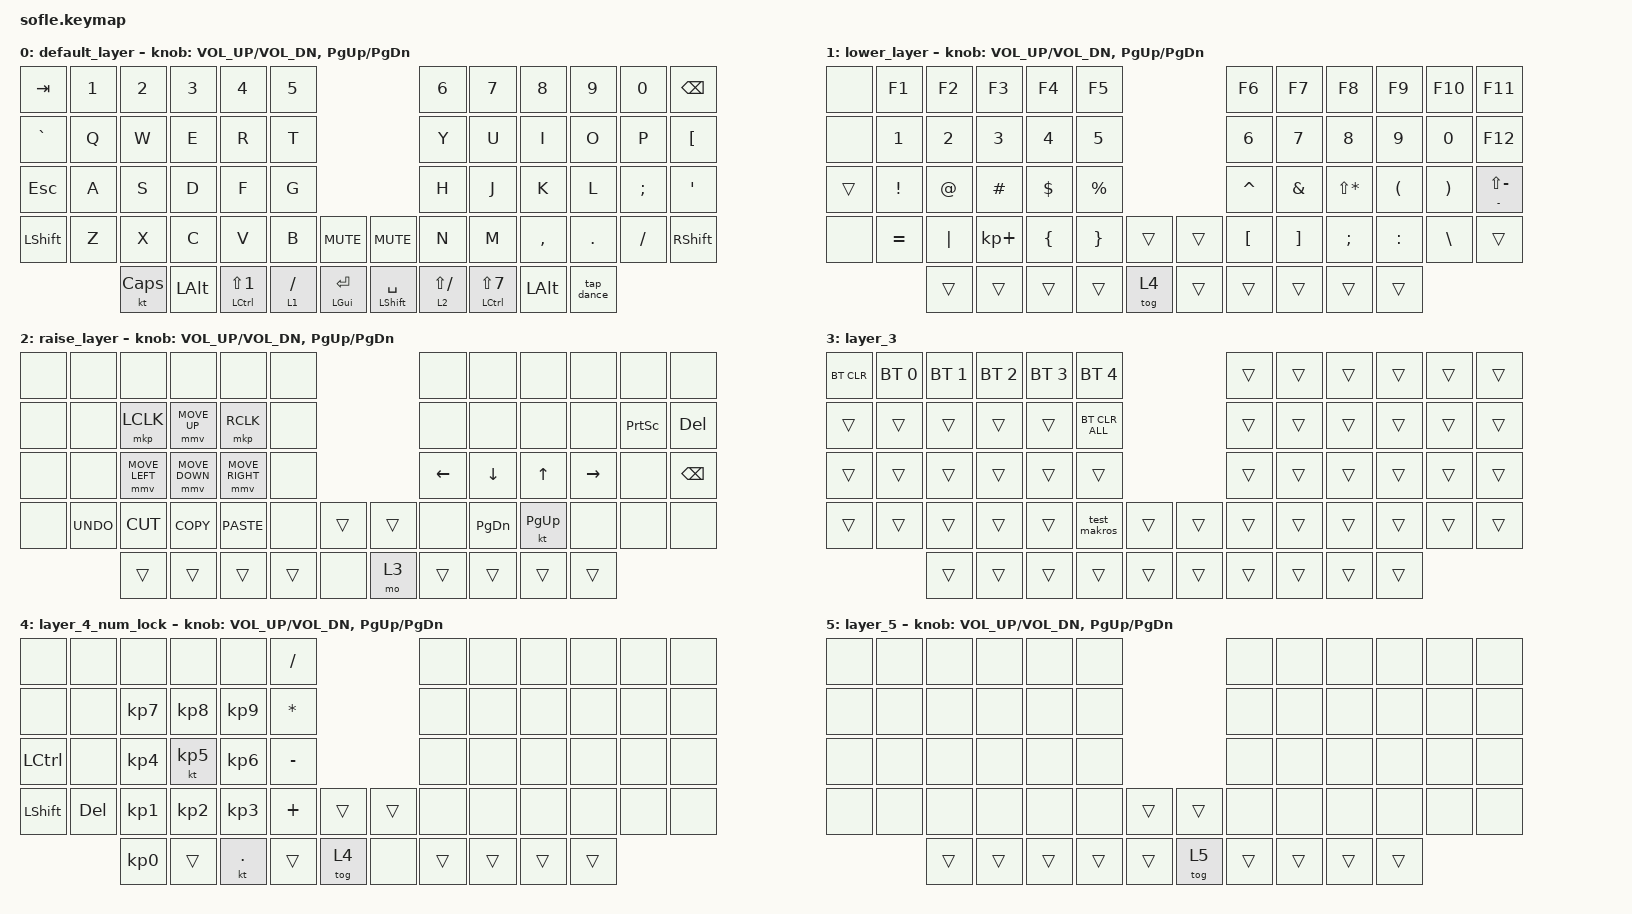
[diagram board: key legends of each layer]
/*
 * Copyright (c) 2020 The ZMK Contributors
 *
 * SPDX-License-Identifier: MIT
 */

#include <behaviors.dtsi>
#include <dt-bindings/zmk/bt.h>
#include <dt-bindings/zmk/keys.h>
#include <dt-bindings/zmk/pointing.h>

/ {
    behaviors {
        HMR: HMR {
            compatible = "zmk,behavior-hold-tap";
            label = "HMR";
            bindings = <&kp>, <&kp>;

            #binding-cells = <2>;
            tapping-term-ms = <280>;
            quick-tap-ms = <175>;
            flavor = "tap-preferred";
            hold-trigger-on-release;
            hold-trigger-key-positions = <54 53 52 51 50 55 56 57 58 59 41 29 17 5 4 3 2 1 0 12 13 14 15 16 28 27 26 25 24 36 37 38 39 40>;
        };

        HML: HML {
            compatible = "zmk,behavior-hold-tap";
            label = "HML";
            bindings = <&kt>, <&kp>;

            #binding-cells = <2>;
            tapping-term-ms = <280>;
            quick-tap-ms = <175>;
            hold-trigger-key-positions = <50 51 52 53 54 55 56 57 58 59>;
            flavor = "tap-unless-interrupted";
        };

        mo_kp: mo_kp {
            compatible = "zmk,behavior-hold-tap";
            label = "MO_KP";
            bindings = <&mo>, <&kp>;

            #binding-cells = <2>;
            hold-trigger-key-positions = <53 52 51 50 56 57 58 59 55 54 35>;
            quick-tap-ms = <175>;
            tapping-term-ms = <280>;
        };

        tap_dance: tap_dance {
            compatible = "zmk,behavior-tap-dance";
            label = "TAP_DANCE";
            #binding-cells = <0>;
            bindings =
                <&kp SPACE>,
                <&kp LEFT_SHIFT>,
                <&kp LA(LEFT_SHIFT)>,
                <&kp NUMBER_4>;
        };

        kp_kp: kp_kp {
            compatible = "zmk,behavior-hold-tap";
            label = "KP_KP";
            #binding-cells = <2>;
            bindings = <&kp>, <&kp>;

            tapping-term-ms = <200>;
            quick-tap-ms = <200>;
        };

        tap_dance_2: tap_dance_2 {
            compatible = "zmk,behavior-tap-dance";
            label = "TAP_DANCE_2";
            #binding-cells = <0>;
            bindings = <&kp SPACE>, <&none>, <&none>;
        };
    };

    macros {
        test_makros: test_makros {
            compatible = "zmk,behavior-macro";
            #binding-cells = <0>;
            bindings = <&none &kp H &kp E &kp L &kp L &kp O &kp SPACE &kp W &kp O &kp R &kp L &kp D &kp EXCL &kp EXCL &kp EXCL>;
            label = "TEST_MAKROS";
        };
    };

    combos {
        compatible = "zmk,combos";

        combos_mo3 {
            bindings = <&mo 3>;
            key-positions = <53 56>;
            require-prior-idle-ms = <175>;
        };

        ru_en {
            bindings = <&kp LS(LEFT_ALT)>;
            key-positions = <27 28>;
        };
    };

    keymap {
        compatible = "zmk,keymap";

        default_layer {
            // ------------------------------------------------------------------------------------------------------------
            // |  `    |  1  |  2  |  3   |  4   |  5   |                   |  6   |  7    |  8    |  9   |   0   |       |
            // |  ESC  |  Q  |  W  |  E   |  R   |  T   |                   |  Y   |  U    |  I    |  O   |   P   | BKSPC |
            // |  TAB  |  A  |  S  |  D   |  F   |  G   |                   |  H   |  J    |  K    |  L   |   ;   |   '   |
            // | SHIFT |  Z  |  X  |  C   |  V   |  B   |  MUTE  |  |       |  N   |  M    |  ,    |  .   |   /   | SHIFT |
            //               | GUI | ALT  | CTRL | LOWER|  ENTER |  | SPACE | RAISE| CTRL  | ALT   | GUI  |

            bindings = <
&kp TAB     &kp N1  &kp N2    &kp N3        &kp N4                            &kp N5                                                        &kp N6              &kp N7                      &kp N8        &kp N9      &kp N0    &kp BACKSPACE
&kp GRAVE   &kp Q   &kp W     &kp E         &kp R                             &kp T                                                         &kp Y               &kp U                       &kp I         &kp O       &kp P     &kp LEFT_BRACKET
&kp ESCAPE  &kp A   &kp S     &kp D         &kp F                             &kp G                                                         &kp H               &kp J                       &kp K         &kp L       &kp SEMI  &kp SQT
&kp LSHFT   &kp Z   &kp X     &kp C         &kp V                             &kp B           &kp C_MUTE             &kp C_MUTE             &kp N               &kp M                       &kp COMMA     &kp PERIOD  &kp FSLH  &kp RSHFT
                    &kt CAPS  &kp LEFT_ALT  &kp_kp LEFT_CONTROL LS(NUMBER_1)  &mo_kp 1 SLASH  &HMR LEFT_GUI ENTER    &HMR LEFT_SHIFT SPACE  &mo_kp 2 LS(SLASH)  &kp_kp LEFT_CONTROL LS(N7)  &kp LEFT_ALT  &tap_dance
            >;

            sensor-bindings = <&inc_dec_kp C_VOL_UP C_VOL_DN &inc_dec_kp PG_UP PG_DN>;
        };

        lower_layer {
            // TODO: Some binds are waiting for shifted keycode support.
            // ------------------------------------------------------------------------------------------------------------
            // | `     |  F1 |  F2 |  F3  |  F4  |  F5  |                   |  F6  |  F7   |  F8   |  F9  |  F10  |  F11  |
            // | RAISE |   1 |   2 |   3  |   4  |   5  |                   |   6  |   7   |   8   |   9  |    0  |  F12  |
            // |       |  !  |  @  |  #   |  $   |  %   |                   |  ^   |  &    |  *    |  (   |   )   |   |   |
            // |       |  =  |  -  |  +   |  {   |  }   |        |  |       |  [   |  ]    |  ;    |  :   |   \   |       |
            //               |     |      |      |      |        |  |       |      |       |       |      |

            bindings = <
&none   &kp F1     &kp F2    &kp F3       &kp F4    &kp F5                       &kp F6     &kp F7    &kp F8         &kp F9     &kp F10   &kp F11
&none   &kp N1     &kp N2    &kp N3       &kp N4    &kp N5                       &kp N6     &kp N7    &kp N8         &kp N9     &kp N0    &kp F12
&trans  &kp EXCL   &kp AT    &kp HASH     &kp DLLR  &kp PRCNT                    &kp CARET  &kp AMPS  &kp LS(ASTRK)  &kp LPAR   &kp RPAR  &kp_kp MINUS LS(MINUS)
&none   &kp EQUAL  &kp PIPE  &kp KP_PLUS  &kp LBRC  &kp RBRC   &trans    &trans  &kp LBKT   &kp RBKT  &kp SEMI       &kp COLON  &kp BSLH  &trans
                   &trans    &trans       &trans    &trans     &tog 4    &trans  &trans     &trans    &trans         &trans
            >;

            sensor-bindings = <&inc_dec_kp C_VOL_UP C_VOL_DN &inc_dec_kp PG_UP PG_DN>;
        };

        raise_layer {
            // ------------------------------------------------------------------------------------------------------------
            // |BTCLR| BT1  | BT2  |  BT3  |  BT4  |  BT5 |                |      |      |       |      |       |       |
            // |     | INS  | PSCR | GUI   |       |      |                | PGUP |      |       |      |       |       |
            // |     | ALT  | CTRL | SHIFT |       | CAPS |                |  <-  |   v  |   ^   |  ->  |  DEL  | BKSPC |
            // |     | UNDO | CUT  | COPY  | PASTE |      |      |  |      |      |      |       |      |       |       |
            //              |      |       |       |      |      |  |      |      |      |       |      |

            bindings = <
&none  &none       &none           &none           &none            &none                     &none     &none          &none      &none      &none            &none
&none  &none       &mkp LCLK       &mmv MOVE_UP    &mkp RCLK        &none                     &none     &none          &none      &none      &kp PRINTSCREEN  &kp DELETE
&none  &none       &mmv MOVE_LEFT  &mmv MOVE_DOWN  &mmv MOVE_RIGHT  &none                     &kp LEFT  &kp DOWN       &kp UP     &kp RIGHT  &none            &kp BACKSPACE
&none  &kp K_UNDO  &kp K_CUT       &kp K_COPY      &kp K_PASTE      &none   &trans    &trans  &none     &kp PAGE_DOWN  &kt PG_UP  &none      &none            &none
                   &trans          &trans          &trans           &trans  &none     &mo 3   &trans    &trans         &trans     &trans
            >;

            sensor-bindings = <&inc_dec_kp C_VOL_UP C_VOL_DN &inc_dec_kp PG_UP PG_DN>;
        };

        layer_3 {
            bindings = <
&bt BT_CLR  &bt BT_SEL 0  &bt BT_SEL 1  &bt BT_SEL 2  &bt BT_SEL 3  &bt BT_SEL 4                      &trans  &trans  &trans  &trans  &trans  &trans
&trans      &trans        &trans        &trans        &trans        &bt BT_CLR_ALL                    &trans  &trans  &trans  &trans  &trans  &trans
&trans      &trans        &trans        &trans        &trans        &trans                            &trans  &trans  &trans  &trans  &trans  &trans
&trans      &trans        &trans        &trans        &trans        &test_makros    &trans    &trans  &trans  &trans  &trans  &trans  &trans  &trans
                          &trans        &trans        &trans        &trans          &trans    &trans  &trans  &trans  &trans  &trans
            >;
        };

        layer_4_num_lock {
            bindings = <
&none             &none    &none            &none            &none            &kp SLASH                       &none   &none   &none   &none   &none  &none
&none             &none    &kp KP_NUMBER_7  &kp KP_NUMBER_8  &kp KP_NUMBER_9  &kp ASTERISK                    &none   &none   &none   &none   &none  &none
&kp LEFT_CONTROL  &none    &kp KP_NUMBER_4  &kt KP_NUMBER_5  &kp KP_NUMBER_6  &kp MINUS                       &none   &none   &none   &none   &none  &none
&kp LEFT_SHIFT    &kp DEL  &kp KP_NUMBER_1  &kp KP_NUMBER_2  &kp KP_NUMBER_3  &kp PLUS      &trans    &trans  &none   &none   &none   &none   &none  &none
                           &kp KP_NUMBER_0  &trans           &kt DOT          &trans        &tog 4    &none   &trans  &trans  &trans  &trans
            >;

            sensor-bindings =
                <&inc_dec_kp C_VOL_UP C_VOL_DN>,
                <&inc_dec_kp PG_UP PG_DN>;
        };

        layer_5 {
            bindings = <
&none  &none  &none   &none   &none   &none                     &none   &none   &none   &none   &none  &none
&none  &none  &none   &none   &none   &none                     &none   &none   &none   &none   &none  &none
&none  &none  &none   &none   &none   &none                     &none   &none   &none   &none   &none  &none
&none  &none  &none   &none   &none   &none   &trans    &trans  &none   &none   &none   &none   &none  &none
              &trans  &trans  &trans  &trans  &trans    &tog 5  &trans  &trans  &trans  &trans
            >;

            sensor-bindings =
                <&inc_dec_kp C_VOL_UP C_VOL_DN>,
                <&inc_dec_kp PG_UP PG_DN>;
        };
    };

    conditional_layers {
        compatible = "zmk,conditional-layers";

        TEST {
            if-layers = <2>;
            then-layer = <3>;
        };
    };
};
